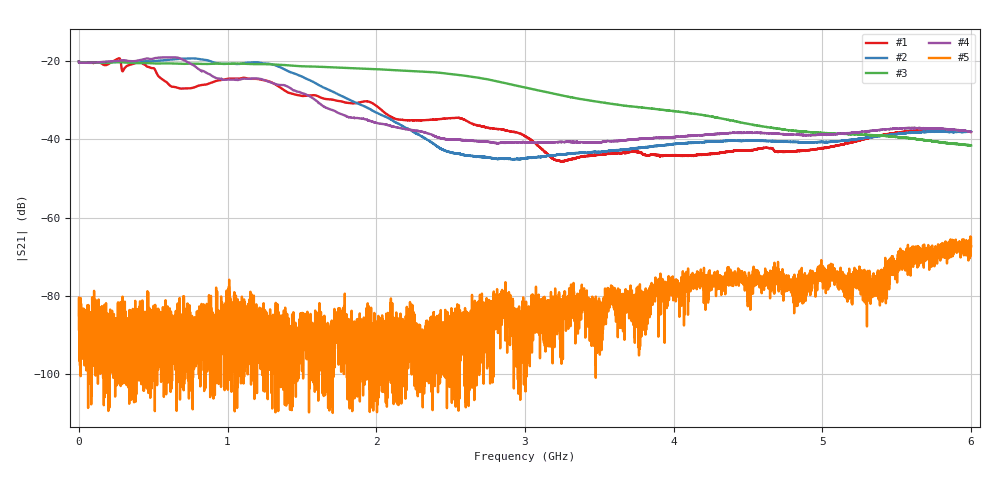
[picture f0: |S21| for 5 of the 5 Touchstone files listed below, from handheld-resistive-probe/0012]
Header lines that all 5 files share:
! Ref Plane: 0.000 mm
# MHZ S MA R  50
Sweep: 300 kHz to 6 GHz
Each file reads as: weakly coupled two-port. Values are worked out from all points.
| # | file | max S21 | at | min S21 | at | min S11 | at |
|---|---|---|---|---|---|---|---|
| 1 | flexground.s2p | -19.28 dB | 270.3 MHz | -45.7 dB | 3.253 GHz | -26.4 dB | 900 kHz |
| 2 | leafground.s2p | -19.32 dB | 762.9 MHz | -45.1 dB | 2.921 GHz | -26.4 dB | 300 kHz |
| 3 | tipground.s2p | -20.10 dB | 300 kHz | -41.6 dB | 5.999 GHz | -26.5 dB | 300 kHz |
| 4 | zground.s2p | -19.03 dB | 612.9 MHz | -41.0 dB | 2.812 GHz | -26.4 dB | 900 kHz |
| 5 | zin.s2p | -64.87 dB | 5.994 GHz | -109.9 dB | 1.707 GHz | -5.2 dB | 2.643 GHz |
